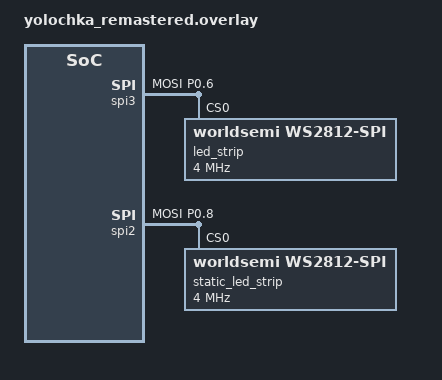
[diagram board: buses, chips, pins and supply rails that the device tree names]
#include <dt-bindings/led/led.h>
#include "yolochka_remastered.dtsi"

&pinctrl {
    spi3_default: spi3_default {
        group1 {
            psels = <NRF_PSEL(SPIM_MOSI, 0, 6)>;
        };
    };

    spi3_sleep: spi3_sleep {
        group1 {
            psels = <NRF_PSEL(SPIM_MOSI, 0, 6)>;
            low-power-enable;
        };
    };

    spi2_default: spi2_default {
        group1 {
            psels = <NRF_PSEL(SPIM_MOSI, 0, 8)>;
        };
    };

    spi2_sleep: spi2_sleep {
        group1 {
            psels = <NRF_PSEL(SPIM_MOSI, 0, 8)>;
            low-power-enable;
        };
    };
};

&spi3 {
    compatible = "nordic,nrf-spim";
    status = "okay";

    pinctrl-0 = <&spi3_default>;
    pinctrl-1 = <&spi3_sleep>;
    pinctrl-names = "default", "sleep";

    led_strip: ws2812@0 {
        compatible = "worldsemi,ws2812-spi";

        /* SPI */
        reg = <0>; /* ignored, but necessary for SPI bindings */
        spi-max-frequency = <4000000>;

        /* WS2812 */
        chain-length = <36>; /* number of LEDs */
        spi-one-frame = <0x70>;
        spi-zero-frame = <0x40>;
        color-mapping = <LED_COLOR_ID_GREEN
                         LED_COLOR_ID_RED
                         LED_COLOR_ID_BLUE>;
    };
};

&spi2 {
    compatible = "nordic,nrf-spim";
    status = "okay";

    pinctrl-0 = <&spi2_default>;
    pinctrl-1 = <&spi2_sleep>;
    pinctrl-names = "default", "sleep";

    static_led_strip: ws2812@0 {
        compatible = "worldsemi,ws2812-spi";

        reg = <0>;
        spi-max-frequency = <4000000>;

        chain-length = <5>;
        spi-one-frame = <0x70>;
        spi-zero-frame = <0x40>;
        color-mapping = <LED_COLOR_ID_GREEN
                         LED_COLOR_ID_RED
                         LED_COLOR_ID_BLUE>;
    };
};

/ {
    chosen {
        zmk,underglow = &led_strip;
        yolochka,static-led-strip = &static_led_strip;
    };
};
